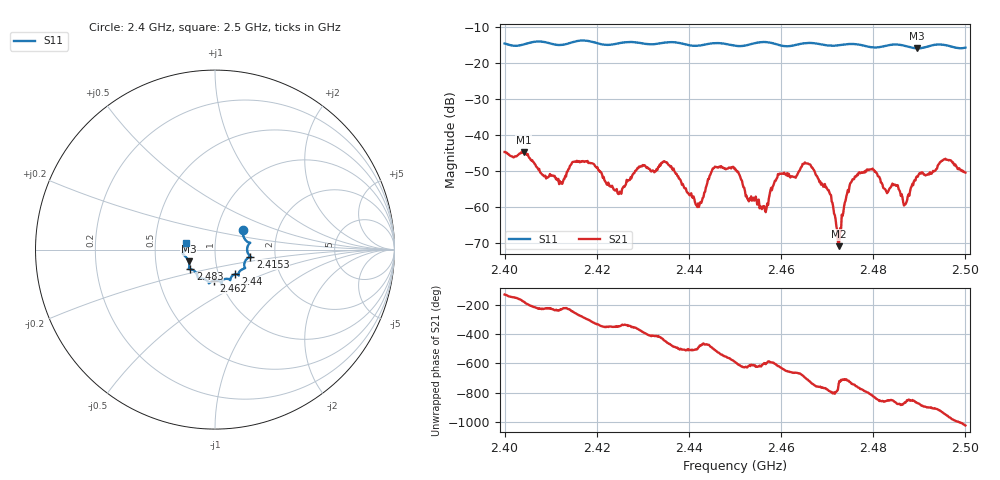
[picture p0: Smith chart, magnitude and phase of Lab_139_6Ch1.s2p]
# Hz S RI R 50
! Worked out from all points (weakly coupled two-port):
!   601 points, 2.4 GHz to 2.5 GHz, reference 50 ohm
!   highest |S21| = -44.67 dB at 2.4042 GHz (marker M1); lowest = -70.9 dB at 2.4725 GHz (marker M2)
!   lowest |S11| = -15.9 dB at 2.4895 GHz (marker M3), VSWR 1.38, Z = 36.9 - j5 ohm
!   |S11| at or under -10 dB: start of sweep to end of sweep
!   S12 and S22 are empty: the file has one direction only
!   S11 on the Smith chart (normalised r, x): 2.4 GHz: 1.33, +0.29; 2.4153 GHz: 1.48, -0.12; 2.44 GHz: 1.20, -0.34; 2.462 GHz: 0.93, -0.33; 2.483 GHz: 0.74, -0.17; 2.5 GHz: 0.72, +0.06
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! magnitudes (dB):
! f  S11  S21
! 2.4 GHz  -14.5  -44.7
! 2.4042 GHz  -14.8  -44.7
! 2.4122 GHz  -14.9  -53.4
! 2.4153 GHz  -14.0  -47.4
! 2.4167 GHz  -13.7  -47.3
! 2.4248 GHz  -14.4  -56.4
! 2.4333 GHz  -14.6  -48.9
! 2.44 GHz  -15.0  -56.5
! 2.4422 GHz  -15.1  -60.0
! 2.4455 GHz  -14.4  -49.1
! 2.45 GHz  -15.1  -49.3
! 2.4563 GHz  -14.1  -59.8
! 2.462 GHz  -15.2  -51.8
! 2.4667 GHz  -14.4  -49.0
! 2.4703 GHz  -15.1  -55.3
! 2.4725 GHz  -15.0  -70.9
! 2.4765 GHz  -14.8  -51.0
! 2.483 GHz  -15.1  -56.2
! 2.4833 GHz  -15.0  -55.5
! 2.487 GHz  -15.2  -59.2
! 2.4895 GHz  -15.9  -51.5
! 2.5 GHz  -15.7  -50.4
